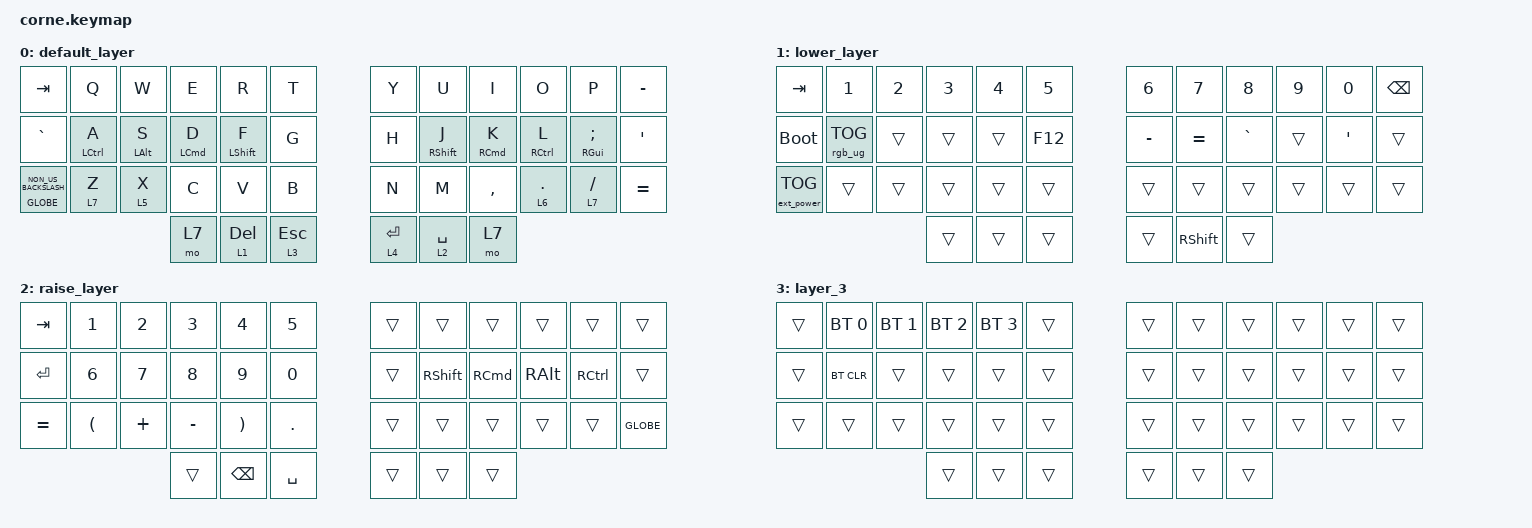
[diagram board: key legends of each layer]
/*
 * Copyright (c) 2020 The ZMK Contributors
 *
 * SPDX-License-Identifier: MIT
 */

#include <behaviors.dtsi>
#include <dt-bindings/zmk/bt.h>
#include <dt-bindings/zmk/ext_power.h>
#include <dt-bindings/zmk/keys.h>
#include <dt-bindings/zmk/rgb.h>

/ {
    behaviors {
        hm: homerow_mods {
            compatible = "zmk,behavior-hold-tap";
            label = "HOMEROW_MODS";
            #binding-cells = <2>;
            tapping-term-ms = <200>;
            quick_tap_ms = <0>;
            flavor = "tap-preferred";
            bindings = <&kp>, <&kp>;

            quick-tap-ms = <180>;
            global-quick-tap;
        };

        ltq: ltq {
            compatible = "zmk,behavior-hold-tap";
            label = "LTQ";
            bindings = <&mo>, <&kp>;

            #binding-cells = <2>;
            tapping-term-ms = <600>;
            global-quick-tap;
            quick-tap-ms = <400>;
        };
    };

    combos {
        compatible = "zmk,combos";

        left_bkt {
            bindings = <&kp LEFT_BRACKET>;
            key-positions = <4 3>;
            timeout-ms = <50>;
        };

        right_bkt {
            bindings = <&kp RBKT>;
            key-positions = <7 8>;
            timeout-ms = <50>;
        };

        left_par {
            bindings = <&kp LEFT_PARENTHESIS>;
            key-positions = <15 16>;
            timeout-ms = <50>;
        };

        right_par {
            bindings = <&kp RIGHT_PARENTHESIS>;
            key-positions = <19 20>;
            timeout-ms = <50>;
        };

        left_brace {
            bindings = <&kp LEFT_BRACE>;
            key-positions = <27 28>;
            timeout-ms = <50>;
        };

        right_brace {
            bindings = <&kp RIGHT_BRACE>;
            key-positions = <32 31>;
            timeout-ms = <50>;
        };

        bac {
            bindings = <&kp BACKSLASH>;
            key-positions = <5 6>;
        };

        pipe {
            bindings = <&kp PIPE>;
            key-positions = <17 18>;
        };
    };

    keymap {
        compatible = "zmk,keymap";

        default_layer {
            bindings = <
&kp TAB                     &kp Q               &kp W           &kp E               &kp R             &kp T         &kp Y        &kp U         &kp I                &kp O                &kp P               &kp MINUS
&kp GRAVE                   &hm LEFT_CONTROL A  &hm LEFT_ALT S  &hm LEFT_COMMAND D  &hm LEFT_SHIFT F  &kp G         &kp H        &hm RSHIFT J  &hm RIGHT_COMMAND K  &hm RIGHT_CONTROL L  &hm RGUI SEMICOLON  &kp SQT
&mt GLOBE NON_US_BACKSLASH  &lt 7 Z             &lt 5 X         &kp C               &kp V             &kp B         &kp N        &kp M         &kp COMMA            &lt 6 DOT            &lt 7 SLASH         &kp EQUAL
                                                                &mo 7               &lt 1 DELETE      &lt 3 ESCAPE  &lt 4 ENTER  &ltq 2 SPACE  &mo 7
            >;
        };

        lower_layer {
            bindings = <
&kp TAB            &kp N1           &kp N2  &kp N3  &kp N4  &kp N5   &kp N6     &kp N7           &kp N8     &kp N9  &kp N0   &kp BSPC
&bootloader        &rgb_ug RGB_TOG  &trans  &trans  &trans  &kp F12  &kp MINUS  &kp EQUAL        &kp GRAVE  &trans  &kp SQT  &trans
&ext_power EP_TOG  &trans           &trans  &trans  &trans  &trans   &trans     &trans           &trans     &trans  &trans   &trans
                                            &trans  &trans  &trans   &trans     &kp RIGHT_SHIFT  &trans
            >;
        };

        raise_layer {
            bindings = <
&kp TAB    &kp NUMBER_1          &kp NUMBER_2  &kp NUMBER_3  &kp NUMBER_4           &kp NUMBER_5  &trans  &trans           &trans             &trans         &trans             &trans
&kp ENTER  &kp NUMBER_6          &kp NUMBER_7  &kp N8        &kp NUMBER_9           &kp N0        &trans  &kp RIGHT_SHIFT  &kp RIGHT_COMMAND  &kp RIGHT_ALT  &kp RIGHT_CONTROL  &trans
&kp EQUAL  &kp LEFT_PARENTHESIS  &kp PLUS      &kp MINUS     &kp RIGHT_PARENTHESIS  &kp DOT       &trans  &trans           &trans             &trans         &trans             &kp GLOBE
                                               &trans        &kp BACKSPACE          &kp SPACE     &trans  &trans           &trans
            >;
        };

        layer_3 {
            bindings = <
&trans  &bt BT_SEL 0  &bt BT_SEL 1  &bt BT_SEL 2  &bt BT_SEL 3  &trans  &trans  &trans  &trans  &trans  &trans  &trans
&trans  &bt BT_CLR    &trans        &trans        &trans        &trans  &trans  &trans  &trans  &trans  &trans  &trans
&trans  &trans        &trans        &trans        &trans        &trans  &trans  &trans  &trans  &trans  &trans  &trans
                                    &trans        &trans        &trans  &trans  &trans  &trans
            >;
        };

        extra1 { status = "reserved"; };

        extra2 { status = "reserved"; };

        extra3 { status = "reserved"; };

        extra4 { status = "reserved"; };
    };
};
